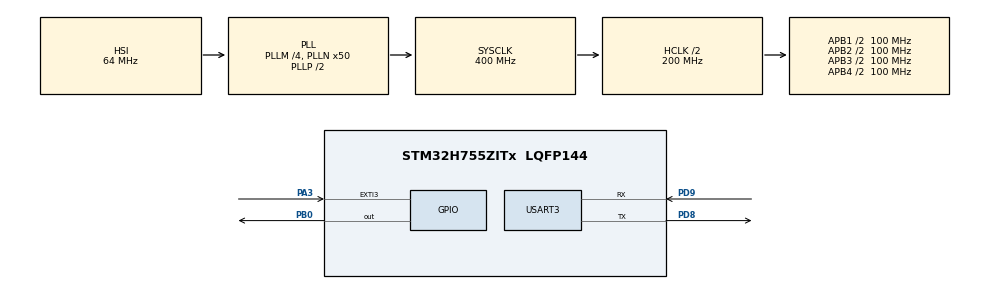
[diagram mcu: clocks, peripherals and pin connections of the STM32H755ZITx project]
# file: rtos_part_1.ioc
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CortexM4.IPs=FATFS_M4\:I,FREERTOS_M4\:I,IWDG2\:I,RCC,WWDG2\:I,DMA,BDMA,MDMA,NVIC2\:I,ETH,DEBUG,PDM2PCM_M4\:I,PWR,RESMGR_UTILITY,SYS_M4\:I,USB_DEVICE_M4\:I,USB_HOST_M4\:I,CORTEX_M4\:I,GPIO,OPENAMP_M4\:I,VREFBUF,NUCLEO-H755ZI-Q
CortexM7.IPs=FATFS_M7\:I,FREERTOS_M7\:I,IWDG1\:I,RCC\:I,WWDG1\:I,DMA\:I,BDMA\:I,MDMA\:I,NVIC1\:I,ETH\:I,USB_OTG_FS\:I,USB_OTG_FS1\:I,SYS\:I,CORTEX_M7\:I,DEBUG\:I,PDM2PCM_M7\:I,PWR\:I,RESMGR_UTILITY\:I,USB_DEVICE_M7\:I,USB_HOST_M7\:I,GPIO\:I,OPENAMP_M7\:I,VREFBUF\:I,NUCLEO-H755ZI-Q\:I,TIM6\:I,USART3\:I
CortexM7.Pins=PA3,PB0
FREERTOS_M7.Events01=myEvent01,Dynamic,NULL
FREERTOS_M7.Tasks01=Button_Task,24,128,Start_Task01,Default,NULL,Dynamic,NULL,NULL;UART_TASK,24,512,StartTask02,Default,NULL,Dynamic,NULL,NULL
FREERTOS_M7.configUSE_NEWLIB_REENTRANT=1
Mcu.Family=STM32H7
Mcu.Name=STM32H755ZITx
Mcu.Package=LQFP144
NVIC1.EXTI3_IRQn=true\:5\:0\:false\:false\:true\:true\:true\:true\:true
NVIC1.PriorityGroup=NVIC_PRIORITYGROUP_4
NVIC1.TIM6_DAC_IRQn=true\:15\:0\:false\:false\:true\:false\:false\:true\:true
NVIC1.TimeBase=TIM6_DAC_IRQn
NVIC1.TimeBaseIP=TIM6
NVIC1.USART3_IRQn=true\:5\:0\:false\:false\:true\:true\:true\:true\:true
NVIC2.PriorityGroup=NVIC_PRIORITYGROUP_4
PA3.GPIO_PuPd=GPIO_PULLUP
PA3.PinAttribute=CortexM7
PA3.Signal=GPXTI3
PB0.PinAttribute=CortexM7
PB0.PinState=GPIO_PIN_SET
PB0.Signal=GPIO_Output
PD8.Mode=Asynchronous
PD8.PinAttribute=CortexM7
PD8.Signal=USART3_TX
PD9.Mode=Asynchronous
PD9.PinAttribute=CortexM7
PD9.Signal=USART3_RX
ProjectManager.HeapSize=M4-0x200,M7-0x200
ProjectManager.StackSize=M4-0x400,M7-0x400
ProjectManager.TargetToolchain=STM32CubeIDE
RCC.ADCFreq_Value=129000000
RCC.APB1Freq_Value=100000000
RCC.APB2Freq_Value=100000000
RCC.APB3Freq_Value=100000000
RCC.APB4Freq_Value=100000000
RCC.CortexFreq_Value=400000000
RCC.D1PPRE=RCC_APB3_DIV2
RCC.D2PPRE1=RCC_APB1_DIV2
RCC.D2PPRE2=RCC_APB2_DIV2
RCC.D3PPRE=RCC_APB4_DIV2
RCC.DIVM1=4
RCC.DIVN1=50
RCC.DIVQ1=5
RCC.HCLKFreq_Value=200000000
RCC.HPRE=RCC_HCLK_DIV2
RCC.PLL2FRACN=0
RCC.PLL3FRACN=0
RCC.PLLFRACN=0
RCC.SYSCLKFreq_VALUE=400000000
RCC.SYSCLKSource=RCC_SYSCLKSOURCE_PLLCLK
RCC.SupplySource=PWR_DIRECT_SMPS_SUPPLY
RCC.USBFreq_Value=160000000
USART3.VirtualMode-Asynchronous=VM_ASYNC
VP_FREERTOS_M7_VS_CMSIS_V2.Mode=CMSIS_V2
VP_SYS_M4_VS_Systick.Mode=SysTick
VP_SYS_VS_tim6.Mode=TIM6
board=NUCLEO-H755ZI-Q

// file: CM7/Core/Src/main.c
/* USER CODE BEGIN Header */
/**
  ******************************************************************************
  * @file           : main.c
  * @brief          : Main program body
  ******************************************************************************
  * @attention
  *
  * Copyright (c) 2026 STMicroelectronics.
  * All rights reserved.
  *
  * This software is licensed under terms that can be found in the LICENSE file
  * in the root directory of this software component.
  * If no LICENSE file comes with this software, it is provided AS-IS.
  *
  ******************************************************************************
  */
/* USER CODE END Header */
#include "main.h"
#include "FreeRTOS.h"
#include "cmsis_os2.h"

/* USER CODE BEGIN Includes */
#include "stdio.h"
/* USER CODE END Includes */

/* USER CODE BEGIN PD */

/* DUAL_CORE_BOOT_SYNC_SEQUENCE: Define for dual core boot synchronization    */
/*                             demonstration code based on hardware semaphore */
/* This define is present in both CM7/CM4 projects                            */
/* To comment when developping/debugging on a single core                     */
#define DUAL_CORE_BOOT_SYNC_SEQUENCE

#if defined(DUAL_CORE_BOOT_SYNC_SEQUENCE)
#ifndef HSEM_ID_0
#define HSEM_ID_0 (0U) /* HW semaphore 0*/
#endif
#endif /* DUAL_CORE_BOOT_SYNC_SEQUENCE */

/* USER CODE END PD */

UART_HandleTypeDef huart3;

/* Definitions for Button_Task */
osThreadId_t Button_TaskHandle;
const osThreadAttr_t Button_Task_attributes = {
  .name = "Button_Task",
  .stack_size = 128 * 4,
  .priority = (osPriority_t) osPriorityNormal,
};
/* Definitions for UART_TASK */
osThreadId_t UART_TASKHandle;
const osThreadAttr_t UART_TASK_attributes = {
  .name = "UART_TASK",
  .stack_size = 512 * 4,
  .priority = (osPriority_t) osPriorityNormal,
};
/* Definitions for myEvent01 */
osEventFlagsId_t myEvent01Handle;
const osEventFlagsAttr_t myEvent01_attributes = {
  .name = "myEvent01"
};
/* USER CODE BEGIN PV */
#define BUTTON_PRESS (1<<3)
#define UART_RECEIVED (1<<4)
uint8_t data_rece[10];
/* USER CODE END PV */

void SystemClock_Config(void);
static void MX_GPIO_Init(void);
static void MX_USART3_UART_Init(void);
void Start_Task01(void *argument);
void StartTask02(void *argument);

/* USER CODE BEGIN 0 */
typedef struct {
	uint32_t timestamp;
	uint32_t event_id;
}message_q_t;
int _io_putchar(uint8_t ch){
	HAL_UART_Transmit(&huart3,&ch, 1, HAL_MAX_DELAY);
	return ch;
}
 int _write(int file, char *ptr, int len)
{
  (void)file;
  int DataIdx;

  for (DataIdx = 0; DataIdx < len; DataIdx++)
  {
	  _io_putchar(*ptr++);
  }
  return len;
}

// int getResource(char *taskName){
//	 for(int i=0;i<3;i++){
//		 if(strcmp(resourceowner[i],"free")==0)
//		 {
//			 resourceowner[i]=taskName;
//			 return i;
//		 }
//	 }
//	 return -1;
// }

// void printResourceTable(void){
//	 printf("\nResource Table \n");
//	 for(int i=0;i<3;i++){
//		 printf("resource %d -> %s\n",resources[i],resourceowner[i]);
//	 }
//	 printf("\n");
//
// }
 void HAL_GPIO_EXTI_Callback(uint16_t GPIO_Pin)
 {
   /* Prevent unused argument(s) compilation warning */
   osEventFlagsSet(myEvent01Handle,BUTTON_PRESS);

   /* NOTE: This function Should not be modified, when the callback is needed,
            the HAL_GPIO_EXTI_Callback could be implemented in the user file
    */
 }
 void HAL_UART_RxCpltCallback(UART_HandleTypeDef *huart)
 {
   /* Prevent unused argument(s) compilation warning */
 osEventFlagsSet(myEvent01Handle, UART_RECEIVED);
  HAL_UART_Receive_IT(&huart3, data_rece, 5);
   /* NOTE : This function should not be modified, when the callback is needed,
             the HAL_UART_RxCpltCallback can be implemented in the user file.
    */
 }
/* USER CODE END 0 */

int main(void)
{

/* USER CODE BEGIN Boot_Mode_Sequence_0 */
//#if defined(DUAL_CORE_BOOT_SYNC_SEQUENCE)
//  int32_t timeout;
//#endif /* DUAL_CORE_BOOT_SYNC_SEQUENCE */
/* USER CODE END Boot_Mode_Sequence_0 */

/* USER CODE BEGIN Boot_Mode_Sequence_1 */
//#if defined(DUAL_CORE_BOOT_SYNC_SEQUENCE)
//  /* Wait until CPU2 boots and enters in stop mode or timeout*/
//  timeout = 0xFFFF;
//  while((__HAL_RCC_GET_FLAG(RCC_FLAG_D2CKRDY) != RESET) && (timeout-- > 0));
//  if ( timeout < 0 )
//  {
//  Error_Handler();
//  }
//#endif /* DUAL_CORE_BOOT_SYNC_SEQUENCE */
/* USER CODE END Boot_Mode_Sequence_1 */
  /* MCU Configuration--------------------------------------------------------*/

  /* Reset of all peripherals, Initializes the Flash interface and the Systick. */
  HAL_Init();

  /* Configure the system clock */
  SystemClock_Config();
/* USER CODE BEGIN Boot_Mode_Sequence_2 */
//#if defined(DUAL_CORE_BOOT_SYNC_SEQUENCE)
///* When system initialization is finished, Cortex-M7 will release Cortex-M4 by means of
//HSEM notification */
///*HW semaphore Clock enable*/
//__HAL_RCC_HSEM_CLK_ENABLE();
///*Take HSEM */
//HAL_HSEM_FastTake(HSEM_ID_0);
///*Release HSEM in order to notify the CPU2(CM4)*/
//HAL_HSEM_Release(HSEM_ID_0,0);
///* wait until CPU2 wakes up from stop mode */
//timeout = 0xFFFF;
//while((__HAL_RCC_GET_FLAG(RCC_FLAG_D2CKRDY) == RESET) && (timeout-- > 0));
//if ( timeout < 0 )
//{
//Error_Handler();
//}
//#endif /* DUAL_CORE_BOOT_SYNC_SEQUENCE */
/* USER CODE END Boot_Mode_Sequence_2 */

  /* Initialize all configured peripherals */
  MX_GPIO_Init();
  MX_USART3_UART_Init();
  /* USER CODE BEGIN 2 */
HAL_UART_Receive_IT(&huart3, data_rece, 5);
  /* USER CODE END 2 */

  /* Init scheduler */
  osKernelInitialize();

  /* Create the thread(s) */
  /* creation of Button_Task */
  Button_TaskHandle = osThreadNew(Start_Task01, NULL, &Button_Task_attributes);

  /* creation of UART_TASK */
  UART_TASKHandle = osThreadNew(StartTask02, NULL, &UART_TASK_attributes);

  /* Create the event(s) */
  /* creation of myEvent01 */
  myEvent01Handle = osEventFlagsNew(&myEvent01_attributes);

  /* Start scheduler */
  osKernelStart();

  /* We should never get here as control is now taken by the scheduler */

  /* Infinite loop */
  while (1)
  {

  }
}

void SystemClock_Config(void)
{
  RCC_OscInitTypeDef RCC_OscInitStruct = {0};
  RCC_ClkInitTypeDef RCC_ClkInitStruct = {0};

  /** Supply configuration update enable
  */
  HAL_PWREx_ConfigSupply(PWR_DIRECT_SMPS_SUPPLY);

  /** Configure the main internal regulator output voltage
  */
  __HAL_PWR_VOLTAGESCALING_CONFIG(PWR_REGULATOR_VOLTAGE_SCALE1);

  while(!__HAL_PWR_GET_FLAG(PWR_FLAG_VOSRDY)) {}

  /** Initializes the RCC Oscillators according to the specified parameters
  * in the RCC_OscInitTypeDef structure.
  */
  RCC_OscInitStruct.OscillatorType = RCC_OSCILLATORTYPE_HSI;
  RCC_OscInitStruct.HSIState = RCC_HSI_DIV1;
  RCC_OscInitStruct.HSICalibrationValue = RCC_HSICALIBRATION_DEFAULT;
  RCC_OscInitStruct.PLL.PLLState = RCC_PLL_ON;
  RCC_OscInitStruct.PLL.PLLSource = RCC_PLLSOURCE_HSI;
  RCC_OscInitStruct.PLL.PLLM = 4;
  RCC_OscInitStruct.PLL.PLLN = 50;
  RCC_OscInitStruct.PLL.PLLP = 2;
  RCC_OscInitStruct.PLL.PLLQ = 5;
  RCC_OscInitStruct.PLL.PLLR = 2;
  RCC_OscInitStruct.PLL.PLLRGE = RCC_PLL1VCIRANGE_3;
  RCC_OscInitStruct.PLL.PLLVCOSEL = RCC_PLL1VCOWIDE;
  RCC_OscInitStruct.PLL.PLLFRACN = 0;
  if (HAL_RCC_OscConfig(&RCC_OscInitStruct) != HAL_OK)
  {
    Error_Handler();
  }

  /** Initializes the CPU, AHB and APB buses clocks
  */
  RCC_ClkInitStruct.ClockType = RCC_CLOCKTYPE_HCLK|RCC_CLOCKTYPE_SYSCLK
                              |RCC_CLOCKTYPE_PCLK1|RCC_CLOCKTYPE_PCLK2
                              |RCC_CLOCKTYPE_D3PCLK1|RCC_CLOCKTYPE_D1PCLK1;
  RCC_ClkInitStruct.SYSCLKSource = RCC_SYSCLKSOURCE_PLLCLK;
  RCC_ClkInitStruct.SYSCLKDivider = RCC_SYSCLK_DIV1;
  RCC_ClkInitStruct.AHBCLKDivider = RCC_HCLK_DIV2;
  RCC_ClkInitStruct.APB3CLKDivider = RCC_APB3_DIV2;
  RCC_ClkInitStruct.APB1CLKDivider = RCC_APB1_DIV2;
  RCC_ClkInitStruct.APB2CLKDivider = RCC_APB2_DIV2;
  RCC_ClkInitStruct.APB4CLKDivider = RCC_APB4_DIV2;

  if (HAL_RCC_ClockConfig(&RCC_ClkInitStruct, FLASH_LATENCY_2) != HAL_OK)
  {
    Error_Handler();
  }
}

static void MX_USART3_UART_Init(void)
{

  huart3.Instance = USART3;
  huart3.Init.BaudRate = 115200;
  huart3.Init.WordLength = UART_WORDLENGTH_8B;
  huart3.Init.StopBits = UART_STOPBITS_1;
  huart3.Init.Parity = UART_PARITY_NONE;
  huart3.Init.Mode = UART_MODE_TX_RX;
  huart3.Init.HwFlowCtl = UART_HWCONTROL_NONE;
  huart3.Init.OverSampling = UART_OVERSAMPLING_16;
  huart3.Init.OneBitSampling = UART_ONE_BIT_SAMPLE_DISABLE;
  huart3.Init.ClockPrescaler = UART_PRESCALER_DIV1;
  huart3.AdvancedInit.AdvFeatureInit = UART_ADVFEATURE_NO_INIT;
  if (HAL_UART_Init(&huart3) != HAL_OK)
  {
    Error_Handler();
  }
  if (HAL_UARTEx_SetTxFifoThreshold(&huart3, UART_TXFIFO_THRESHOLD_1_8) != HAL_OK)
  {
    Error_Handler();
  }
  if (HAL_UARTEx_SetRxFifoThreshold(&huart3, UART_RXFIFO_THRESHOLD_1_8) != HAL_OK)
  {
    Error_Handler();
  }
  if (HAL_UARTEx_DisableFifoMode(&huart3) != HAL_OK)
  {
    Error_Handler();
  }

}

static void MX_GPIO_Init(void)
{
  GPIO_InitTypeDef GPIO_InitStruct = {0};

  /* GPIO Ports Clock Enable */
  __HAL_RCC_GPIOA_CLK_ENABLE();
  __HAL_RCC_GPIOB_CLK_ENABLE();
  __HAL_RCC_GPIOD_CLK_ENABLE();

  /*Configure GPIO pin Output Level */
  HAL_GPIO_WritePin(GPIOB, GPIO_PIN_0, GPIO_PIN_SET);

  /*Configure GPIO pin : PA3 */
  GPIO_InitStruct.Pin = GPIO_PIN_3;
  GPIO_InitStruct.Mode = GPIO_MODE_IT_RISING;
  GPIO_InitStruct.Pull = GPIO_PULLUP;
  HAL_GPIO_Init(GPIOA, &GPIO_InitStruct);

  /*Configure GPIO pin : PB0 */
  GPIO_InitStruct.Pin = GPIO_PIN_0;
  GPIO_InitStruct.Mode = GPIO_MODE_OUTPUT_PP;
  GPIO_InitStruct.Pull = GPIO_NOPULL;
  GPIO_InitStruct.Speed = GPIO_SPEED_FREQ_LOW;
  HAL_GPIO_Init(GPIOB, &GPIO_InitStruct);

  /* EXTI interrupt init*/
  HAL_NVIC_SetPriority(EXTI3_IRQn, 5, 0);
  HAL_NVIC_EnableIRQ(EXTI3_IRQn);

}

/* USER CODE BEGIN 4 */
#define TASK_EVENT_1 (1<<0)
#define TASK_EVENT_2 (1<<1)
#define TASK_EVENT_3 (1<<2)
#define TASK_EVENT_4 (1<<3)

/* USER CODE END 4 */

void Start_Task01(void *argument)
{
  /* USER CODE BEGIN 5 */
  /* Infinite loop */

  for(;;)
  {
osEventFlagsWait(myEvent01Handle, BUTTON_PRESS,osFlagsWaitAll,osWaitForever);
//	  osEventFlagsWait(myEvent01Handle, BUTTON_PRESS,os, timeout)
HAL_GPIO_TogglePin(GPIOB, GPIO_PIN_0);
osDelay(500);
  }
  /* USER CODE END 5 */
}

void StartTask02(void *argument)
{
  /* USER CODE BEGIN StartTask02 */
  /* Infinite loop */
	 for(;;)
	  {
		 osEventFlagsWait(myEvent01Handle, UART_RECEIVED,osFlagsWaitAll,osWaitForever);
		 printf("received data\r\n");
	osDelay(2000);
	  }
  /* USER CODE END StartTask02 */
}

void HAL_TIM_PeriodElapsedCallback(TIM_HandleTypeDef *htim)
{
  if (htim->Instance == TIM6)
  {
    HAL_IncTick();
  }
}

void Error_Handler(void)
{
  __disable_irq();
  while (1)
  {
  }
}
